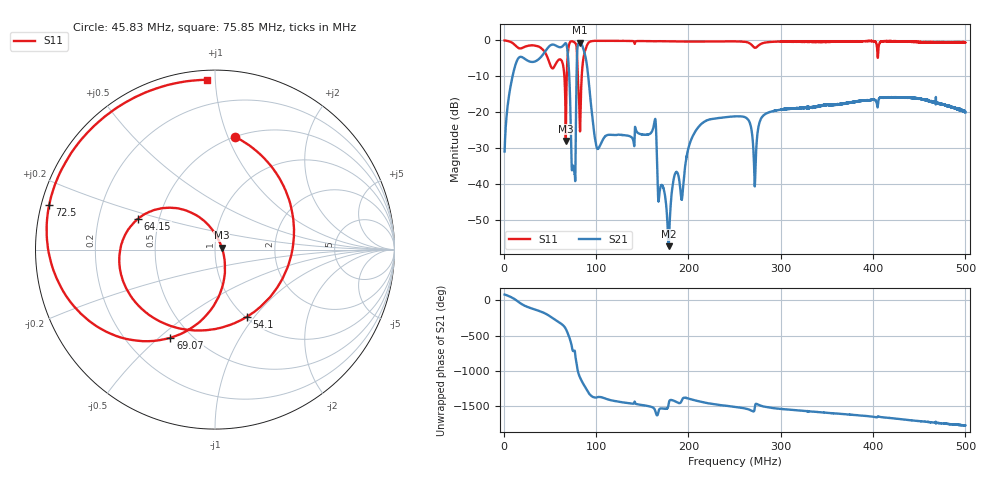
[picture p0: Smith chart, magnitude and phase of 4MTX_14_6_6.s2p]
! NanoVNA-App
! Date: 2026-08-18 21:39:30
! Start: 1MHz Stop: 500MHz Points: 6401
! S-Parameter data: F S11 S21 S12 S22
# Hz S RI R 50
!  Frequency  S11_Real  S11_Imag  S21_Real  S21_Imag  S12_Real  S12_Imag  S22_Real  S22_Imag
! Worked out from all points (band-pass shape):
!   6401 points, 1 MHz to 500 MHz, reference 50 ohm
!   highest |S21| = -0.67 dB at 82.63 MHz (marker M1); lowest = -57.2 dB at 178.5 MHz (marker M2)
!   |S21| within 3 dB of the highest: 43.47 MHz to 69.35 MHz (25.88 MHz wide, 45.9 % of centre); 79.53 MHz to 87.66 MHz (8.134 MHz wide, 9.73 % of centre)
!   lowest |S11| = -28.0 dB at 67.27 MHz (marker M3), VSWR 1.08, Z = 54 + j1.2 ohm
!   |S11| at or under -10 dB: 65.7 MHz to 68.3 MHz (2.593 MHz wide, 3.87 % of centre); 80.23 MHz to 84.51 MHz (4.276 MHz wide, 5.19 % of centre)
!   S12 and S22 are empty: the file has one direction only
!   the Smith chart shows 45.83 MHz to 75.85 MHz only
!   S11 on the Smith chart (normalised r, x): 45.83 MHz: 0.50, +1.06; 54.1 MHz: 1.02, -0.92; 64.15 MHz: 0.38, +0.17; 69.07 MHz: 0.39, -0.55; 72.5 MHz: 0.02, +0.13; 75.85 MHz: 0.05, +0.96
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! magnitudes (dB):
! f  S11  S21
! 1 MHz  -0.1  -30.9
! 14.49 MHz  -1.9  -5.6
! 45.83 MHz  -3.9  -2.8
! 54.1 MHz  -7.7  -1.3
! 64.15 MHz  -6.7  -1.6
! 67.27 MHz  -28.0  -0.9
! 69.07 MHz  -5.2  -2.9
! 72.5 MHz  -0.4  -22.3
! 75.85 MHz  -0.5  -35.6
! 82.63 MHz  -25.3  -0.7
! 84.19 MHz  -11.6  -1.0
! 101.3 MHz  -0.2  -30.1
! 162.7 MHz  -0.3  -23.6
! 167.4 MHz  -0.3  -44.3
! 178.5 MHz  -0.3  -57.2
! 207.5 MHz  -0.4  -25.4
! 250.5 MHz  -0.4  -21.2
! 271.9 MHz  -2.1  -40.6
! 281.8 MHz  -0.7  -20.8
! 333.7 MHz  -0.5  -18.6
! 416.9 MHz  -0.2  -15.9
! 500 MHz  -0.7  -20.1
